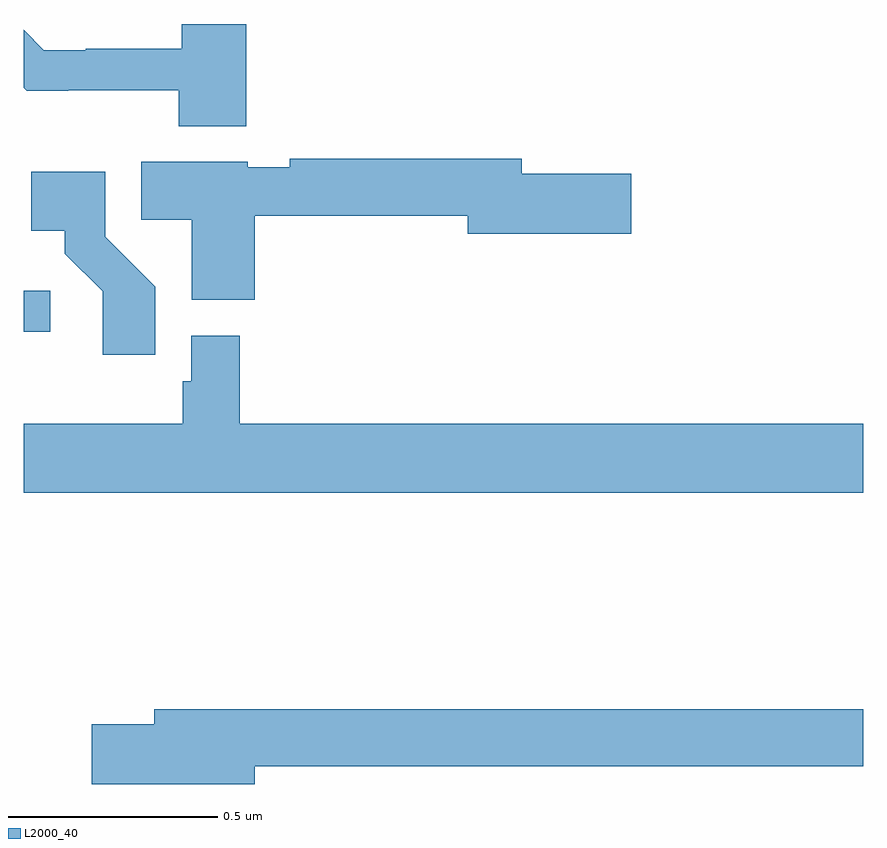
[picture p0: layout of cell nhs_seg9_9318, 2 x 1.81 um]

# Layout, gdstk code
import gdstk
lib = gdstk.Library(unit=1e-6, precision=1e-09)
def R(c, l, rs):  # rectangles x0, y0, x1, y1
    for r in rs: c.add(gdstk.rectangle(r[:2], r[2:], *l))
def P(c, l, *ps):  # polygons
    for p in ps: c.add(gdstk.Polygon(p, *l))
L2000_40 = (2000, 40)

nhs_seg9_9318 = lib.new_cell('nhs_seg9_9318')
R(nhs_seg9_9318, L2000_40, [(228,1232.767,228.064,1232.865)])
P(nhs_seg9_9318, L2000_40, [(228.53,1233.5),(228.377,1233.5),(228.377,1233.441),(228.148,1233.441),(228.148,1233.438),(228.048,1233.438),(228,1233.486),(228,1233.348),(228.007,1233.341),(228.106,1233.341),(228.106,1233.342),(228.37,1233.342),(228.37,1233.257),(228.53,1233.257)],
  [(228.551,1233.043),(229.058,1233.043),(229.058,1233.001),(229.447,1233.001),(229.447,1233.143),(229.186,1233.143),(229.186,1233.179),(228.634,1233.179),(228.634,1233.159),(228.534,1233.159),(228.534,1233.172),(228.28,1233.172),(228.28,1233.034),(228.401,1233.034),(228.401,1232.843),(228.551,1232.843)],
  [(228.314,1232.874),(228.195,1232.993),(228.195,1233.148),(228.018,1233.148),(228.018,1233.008),(228.098,1233.008),(228.098,1232.953),(228.189,1232.863),(228.189,1232.712),(228.314,1232.712)],
  [(230,1232.548),(228.515,1232.548),(228.515,1232.758),(228.399,1232.758),(228.399,1232.649),(228.379,1232.649),(228.379,1232.548),(228,1232.548),(228,1232.384),(230,1232.384)],
  [(228.55,1231.732),(230,1231.732),(230,1231.868),(228.311,1231.868),(228.311,1231.832),(228.162,1231.832),(228.162,1231.69),(228.55,1231.69)])

lib.write_gds('nhs_seg9_9318.gds')
